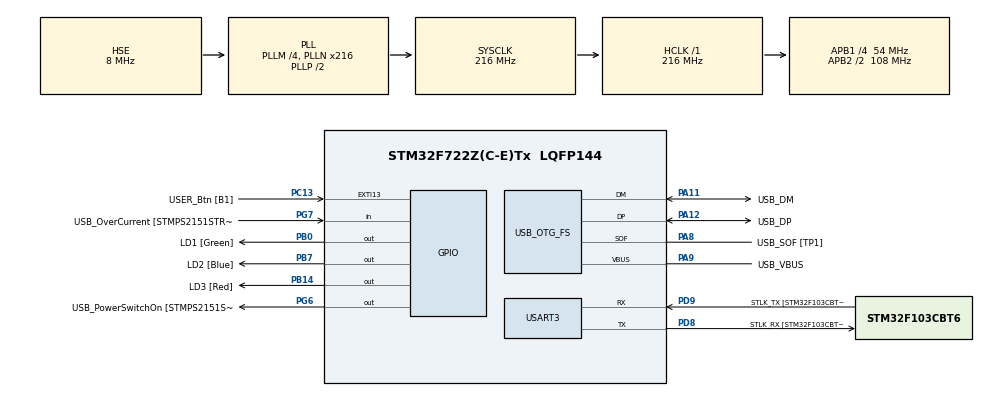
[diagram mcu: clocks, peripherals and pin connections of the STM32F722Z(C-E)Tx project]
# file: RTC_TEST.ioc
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Mcu.Family=STM32F7
Mcu.Name=STM32F722Z(C-E)Tx
Mcu.Package=LQFP144
NVIC.PriorityGroup=NVIC_PRIORITYGROUP_4
NVIC.RTC_WKUP_IRQn=true\:0\:0\:false\:false\:true\:true\:true\:true
PA10.GPIO_Label=USB_ID
PA10.Signal=USB_OTG_FS_ID
PA11.GPIO_Label=USB_DM
PA11.Mode=Device_Only
PA11.Signal=USB_OTG_FS_DM
PA12.GPIO_Label=USB_DP
PA12.Mode=Device_Only
PA12.Signal=USB_OTG_FS_DP
PA13.GPIO_Label=TMS
PA13.Mode=Serial_Wire
PA13.Signal=SYS_JTMS-SWDIO
PA14.GPIO_Label=TCK
PA14.Mode=Serial_Wire
PA14.Signal=SYS_JTCK-SWCLK
PA2.Mode=SYS_WakeUp1
PA2.Signal=SYS_WKUP2
PA8.GPIO_Label=USB_SOF [TP1]
PA8.Mode=Activate_SOF_FS
PA8.Signal=USB_OTG_FS_SOF
PA9.GPIO_Label=USB_VBUS
PA9.Mode=Activate_VBUS
PA9.Signal=USB_OTG_FS_VBUS
PB0.GPIO_Label=LD1 [Green]
PB0.Signal=GPIO_Output
PB14.GPIO_Label=LD3 [Red]
PB14.Signal=GPIO_Output
PB3.GPIO_Label=SWO
PB3.Signal=SYS_JTDO-SWO
PB7.GPIO_Label=LD2 [Blue]
PB7.Signal=GPIO_Output
PC13.GPIO_Label=USER_Btn [B1]
PC13.Signal=GPXTI13
PC14-OSC32_IN.Mode=LSE-External-Oscillator
PC14-OSC32_IN.Signal=RCC_OSC32_IN
PC15-OSC32_OUT.Mode=LSE-External-Oscillator
PC15-OSC32_OUT.Signal=RCC_OSC32_OUT
PD8.GPIO_Label=STLK_RX [STM32F103CBT6_PA3]
PD8.Mode=Asynchronous
PD8.Signal=USART3_TX
PD9.GPIO_Label=STLK_TX [STM32F103CBT6_PA2]
PD9.Mode=Asynchronous
PD9.Signal=USART3_RX
PG6.GPIO_Label=USB_PowerSwitchOn [STMPS2151STR_EN]
PG6.Signal=GPIO_Output
PG7.GPIO_Label=USB_OverCurrent [STMPS2151STR_FAULT]
PG7.Signal=GPIO_Input
PH0-OSC_IN.GPIO_Label=MCO
PH0-OSC_IN.Mode=HSE-External-Clock-Source
PH0-OSC_IN.Signal=RCC_OSC_IN
PH1-OSC_OUT.Mode=HSE-External-Clock-Source
PH1-OSC_OUT.Signal=RCC_OSC_OUT
ProjectManager.HeapSize=0x200
ProjectManager.StackSize=0x400
ProjectManager.TargetToolchain=STM32CubeIDE
RCC.48MHZClocksFreq_Value=24000000
RCC.AHBFreq_Value=216000000
RCC.APB1CLKDivider=RCC_HCLK_DIV4
RCC.APB1Freq_Value=54000000
RCC.APB1TimFreq_Value=108000000
RCC.APB2CLKDivider=RCC_HCLK_DIV2
RCC.APB2Freq_Value=108000000
RCC.APB2TimFreq_Value=216000000
RCC.CortexFreq_Value=216000000
RCC.HCLKFreq_Value=216000000
RCC.HSE_VALUE=8000000
RCC.HSI_VALUE=16000000
RCC.PLLM=4
RCC.PLLMUL=RCC_PLL_MUL9
RCC.PLLN=216
RCC.PLLQ=9
RCC.PRESCALERUSB=RCC_USBCLKSOURCE_PLL_DIV1_5
RCC.SYSCLKFreq_VALUE=216000000
RCC.SYSCLKSource=RCC_SYSCLKSOURCE_PLLCLK
RCC.SYSCLKSourceVirtual=RCC_SYSCLKSOURCE_PLLCLK
RCC.USBFreq_Value=48000000
RCC.VCOOutputFreq_Value=432000000
RTC.WakeUpClock-WakeUp=RTC_WAKEUPCLOCK_RTCCLK_DIV16
RTC.WakeUpCounter-WakeUp=0x500B
USART3.VirtualMode-Asynchronous=VM_ASYNC
USB_OTG_FS.VirtualMode=Device_Only
VP_RTC_VS_RTC_Activate.Mode=RTC_Enabled
VP_RTC_VS_RTC_WakeUp_intern.Mode=WakeUp
board=NUCLEO-F722ZE

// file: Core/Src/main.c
/* USER CODE BEGIN Header */
/**
  ******************************************************************************
  * @file           : main.c
  * @brief          : Main program body
  ******************************************************************************
  * @attention
  *
  * Copyright (c) 2023 STMicroelectronics.
  * All rights reserved.
  *
  * This software is licensed under terms that can be found in the LICENSE file
  * in the root directory of this software component.
  * If no LICENSE file comes with this software, it is provided AS-IS.
  *
  ******************************************************************************
  */
/* USER CODE END Header */
#include "main.h"

/* USER CODE BEGIN Includes */
#include <stdio.h>
/* USER CODE END Includes */

RTC_HandleTypeDef hrtc;

UART_HandleTypeDef huart3;

PCD_HandleTypeDef hpcd_USB_OTG_FS;

void SystemClock_Config(void);
static void MX_GPIO_Init(void);
static void MX_USART3_UART_Init(void);
static void MX_USB_OTG_FS_PCD_Init(void);
static void MX_RTC_Init(void);

/* USER CODE BEGIN 0 */
/*
void HAL_GPIO_EXTI_Callback( uint16_t GPIO_Pin )
{
	HAL_GPIO_WritePin( GPIOB, LD3_Pin, GPIO_PIN_RESET );
}
*/
/* USER CODE END 0 */

int main(void)
{

  /* MCU Configuration--------------------------------------------------------*/

  /* Reset of all peripherals, Initializes the Flash interface and the Systick. */
  HAL_Init();

  /* Configure the system clock */
  SystemClock_Config();

  /* Initialize all configured peripherals */
  MX_GPIO_Init();
  MX_USART3_UART_Init();
  MX_USB_OTG_FS_PCD_Init();
  MX_RTC_Init();
  /* USER CODE BEGIN 2 */
  char				uart_msg[50];
  int				uart_len;
  // check if the stand by flag is set

  if( __HAL_PWR_GET_FLAG( PWR_FLAG_SB ) != RESET ){

	  __HAL_PWR_CLEAR_FLAG( PWR_FLAG_SB );
	  uart_len = sprintf( uart_msg, "A: Wakeup from the STANDBY MODE.\r\n " );
	  HAL_UART_Transmit(&huart3, (uint8_t*)uart_msg, uart_len, 100);

	  for( uint8_t i = 0; i < 10; i++ ){
		  HAL_GPIO_TogglePin( GPIOB, LD1_Pin );
		  HAL_Delay( 200 );
	  }

	  HAL_PWR_DisableWakeUpPin( PWR_WAKEUP_PIN1 );
	  HAL_RTCEx_DeactivateWakeUpTimer( &hrtc );
  }

  // Clear the wakeup flag
  __HAL_PWR_CLEAR_FLAG( PWR_FLAG_WU );
  __HAL_RTC_WAKEUPTIMER_CLEAR_FLAG( &hrtc, RTC_FLAG_WUTF );

  uart_len = sprintf( uart_msg, "B: About to enter the STANDBY MODE.\r\n " );
  HAL_UART_Transmit(&huart3, (uint8_t*)uart_msg, uart_len, 100);

  for( uint8_t i = 0; i < 4; i++ ){
	  HAL_GPIO_TogglePin( GPIOB, LD2_Pin );
	  HAL_Delay( 500 );
  }

  HAL_PWR_EnableWakeUpPin( PWR_WAKEUP_PIN1 );
  // PWR->CR2 |= 0x01; same as following statement
  __HAL_PWR_CLEAR_WAKEUP_FLAG( PWR_WAKEUP_PIN_FLAG1 );

  if (HAL_RTCEx_SetWakeUpTimer_IT(&hrtc, 30-1, RTC_WAKEUPCLOCK_CK_SPRE_16BITS) != HAL_OK)
  {
    Error_Handler();
  }

  uart_len = sprintf( uart_msg, "C: STANDBY MODE Now.\r\n " );
  HAL_UART_Transmit(&huart3, (uint8_t*)uart_msg, uart_len, 100);

  HAL_PWR_EnterSTANDBYMode( );
  /* USER CODE END 2 */

  /* Infinite loop */
  while (1)
  {

    /* USER CODE BEGIN 3 */
/*	  GPIO_PinState _pin = HAL_GPIO_ReadPin( USER_Btn_GPIO_Port, USER_Btn_Pin );
	  if( _pin == GPIO_PIN_SET ){

	  }*/
	  /*
	  HAL_Delay( 500 );
	  HAL_GPIO_WritePin( GPIOB, LD3_Pin, GPIO_PIN_SET );
	  uart_len = sprintf( uart_msg, "Going sleep ... " );
	  HAL_UART_Transmit(&huart3, (uint8_t*)uart_msg, uart_len, 100);

      HAL_SuspendTick();
      HAL_RTCEx_SetWakeUpTimer_IT(&hrtc, 10-1, RTC_WAKEUPCLOCK_CK_SPRE_16BITS);

      HAL_PWR_EnterSLEEPMode( PWR_MAINREGULATOR_ON, PWR_SLEEPENTRY_WFI );
      HAL_RTCEx_DeactivateWakeUpTimer(&hrtc);
      SystemClock_Config();
      HAL_ResumeTick();
	  uart_len = sprintf( uart_msg, "Waking up !!! " );
	  HAL_UART_Transmit(&huart3, (uint8_t*)uart_msg, uart_len, 100);
*/

  }
  /* USER CODE END 3 */
}

void SystemClock_Config(void)
{
  RCC_OscInitTypeDef RCC_OscInitStruct = {0};
  RCC_ClkInitTypeDef RCC_ClkInitStruct = {0};

  /** Configure LSE Drive Capability
  */
  HAL_PWR_EnableBkUpAccess();

  /** Configure the main internal regulator output voltage
  */
  __HAL_RCC_PWR_CLK_ENABLE();
  __HAL_PWR_VOLTAGESCALING_CONFIG(PWR_REGULATOR_VOLTAGE_SCALE1);

  /** Initializes the RCC Oscillators according to the specified parameters
  * in the RCC_OscInitTypeDef structure.
  */
  RCC_OscInitStruct.OscillatorType = RCC_OSCILLATORTYPE_LSI|RCC_OSCILLATORTYPE_HSE;
  RCC_OscInitStruct.HSEState = RCC_HSE_BYPASS;
  RCC_OscInitStruct.LSIState = RCC_LSI_ON;
  RCC_OscInitStruct.PLL.PLLState = RCC_PLL_ON;
  RCC_OscInitStruct.PLL.PLLSource = RCC_PLLSOURCE_HSE;
  RCC_OscInitStruct.PLL.PLLM = 4;
  RCC_OscInitStruct.PLL.PLLN = 216;
  RCC_OscInitStruct.PLL.PLLP = RCC_PLLP_DIV2;
  RCC_OscInitStruct.PLL.PLLQ = 9;
  if (HAL_RCC_OscConfig(&RCC_OscInitStruct) != HAL_OK)
  {
    Error_Handler();
  }

  /** Activate the Over-Drive mode
  */
  if (HAL_PWREx_EnableOverDrive() != HAL_OK)
  {
    Error_Handler();
  }

  /** Initializes the CPU, AHB and APB buses clocks
  */
  RCC_ClkInitStruct.ClockType = RCC_CLOCKTYPE_HCLK|RCC_CLOCKTYPE_SYSCLK
                              |RCC_CLOCKTYPE_PCLK1|RCC_CLOCKTYPE_PCLK2;
  RCC_ClkInitStruct.SYSCLKSource = RCC_SYSCLKSOURCE_PLLCLK;
  RCC_ClkInitStruct.AHBCLKDivider = RCC_SYSCLK_DIV1;
  RCC_ClkInitStruct.APB1CLKDivider = RCC_HCLK_DIV4;
  RCC_ClkInitStruct.APB2CLKDivider = RCC_HCLK_DIV2;

  if (HAL_RCC_ClockConfig(&RCC_ClkInitStruct, FLASH_LATENCY_7) != HAL_OK)
  {
    Error_Handler();
  }
}

static void MX_RTC_Init(void)
{

  /** Initialize RTC Only
  */
  hrtc.Instance = RTC;
  hrtc.Init.HourFormat = RTC_HOURFORMAT_24;
  hrtc.Init.AsynchPrediv = 127;
  hrtc.Init.SynchPrediv = 255;
  hrtc.Init.OutPut = RTC_OUTPUT_DISABLE;
  hrtc.Init.OutPutPolarity = RTC_OUTPUT_POLARITY_HIGH;
  hrtc.Init.OutPutType = RTC_OUTPUT_TYPE_OPENDRAIN;
  if (HAL_RTC_Init(&hrtc) != HAL_OK)
  {
    Error_Handler();
  }

  /** Enable the WakeUp
  */
  if (HAL_RTCEx_SetWakeUpTimer_IT(&hrtc, 0x500B, RTC_WAKEUPCLOCK_RTCCLK_DIV16) != HAL_OK)
  {
    Error_Handler();
  }

}

static void MX_USART3_UART_Init(void)
{

  huart3.Instance = USART3;
  huart3.Init.BaudRate = 115200;
  huart3.Init.WordLength = UART_WORDLENGTH_8B;
  huart3.Init.StopBits = UART_STOPBITS_1;
  huart3.Init.Parity = UART_PARITY_NONE;
  huart3.Init.Mode = UART_MODE_TX_RX;
  huart3.Init.HwFlowCtl = UART_HWCONTROL_NONE;
  huart3.Init.OverSampling = UART_OVERSAMPLING_16;
  huart3.Init.OneBitSampling = UART_ONE_BIT_SAMPLE_DISABLE;
  huart3.AdvancedInit.AdvFeatureInit = UART_ADVFEATURE_NO_INIT;
  if (HAL_UART_Init(&huart3) != HAL_OK)
  {
    Error_Handler();
  }

}

static void MX_USB_OTG_FS_PCD_Init(void)
{

  hpcd_USB_OTG_FS.Instance = USB_OTG_FS;
  hpcd_USB_OTG_FS.Init.dev_endpoints = 6;
  hpcd_USB_OTG_FS.Init.speed = PCD_SPEED_FULL;
  hpcd_USB_OTG_FS.Init.dma_enable = DISABLE;
  hpcd_USB_OTG_FS.Init.phy_itface = PCD_PHY_EMBEDDED;
  hpcd_USB_OTG_FS.Init.Sof_enable = ENABLE;
  hpcd_USB_OTG_FS.Init.low_power_enable = DISABLE;
  hpcd_USB_OTG_FS.Init.lpm_enable = DISABLE;
  hpcd_USB_OTG_FS.Init.battery_charging_enable = ENABLE;
  hpcd_USB_OTG_FS.Init.vbus_sensing_enable = ENABLE;
  hpcd_USB_OTG_FS.Init.use_dedicated_ep1 = DISABLE;
  if (HAL_PCD_Init(&hpcd_USB_OTG_FS) != HAL_OK)
  {
    Error_Handler();
  }

}

static void MX_GPIO_Init(void)
{
  GPIO_InitTypeDef GPIO_InitStruct = {0};

  /* GPIO Ports Clock Enable */
  __HAL_RCC_GPIOC_CLK_ENABLE();
  __HAL_RCC_GPIOH_CLK_ENABLE();
  __HAL_RCC_GPIOA_CLK_ENABLE();
  __HAL_RCC_GPIOB_CLK_ENABLE();
  __HAL_RCC_GPIOD_CLK_ENABLE();
  __HAL_RCC_GPIOG_CLK_ENABLE();

  /*Configure GPIO pin Output Level */
  HAL_GPIO_WritePin(GPIOB, LD1_Pin|LD3_Pin|LD2_Pin, GPIO_PIN_RESET);

  /*Configure GPIO pin Output Level */
  HAL_GPIO_WritePin(USB_PowerSwitchOn_GPIO_Port, USB_PowerSwitchOn_Pin, GPIO_PIN_RESET);

  /*Configure GPIO pin : USER_Btn_Pin */
  GPIO_InitStruct.Pin = USER_Btn_Pin;
  GPIO_InitStruct.Mode = GPIO_MODE_IT_RISING;
  GPIO_InitStruct.Pull = GPIO_NOPULL;
  HAL_GPIO_Init(USER_Btn_GPIO_Port, &GPIO_InitStruct);

  /*Configure GPIO pins : LD1_Pin LD3_Pin LD2_Pin */
  GPIO_InitStruct.Pin = LD1_Pin|LD3_Pin|LD2_Pin;
  GPIO_InitStruct.Mode = GPIO_MODE_OUTPUT_PP;
  GPIO_InitStruct.Pull = GPIO_NOPULL;
  GPIO_InitStruct.Speed = GPIO_SPEED_FREQ_LOW;
  HAL_GPIO_Init(GPIOB, &GPIO_InitStruct);

  /*Configure GPIO pin : USB_PowerSwitchOn_Pin */
  GPIO_InitStruct.Pin = USB_PowerSwitchOn_Pin;
  GPIO_InitStruct.Mode = GPIO_MODE_OUTPUT_PP;
  GPIO_InitStruct.Pull = GPIO_NOPULL;
  GPIO_InitStruct.Speed = GPIO_SPEED_FREQ_LOW;
  HAL_GPIO_Init(USB_PowerSwitchOn_GPIO_Port, &GPIO_InitStruct);

  /*Configure GPIO pin : USB_OverCurrent_Pin */
  GPIO_InitStruct.Pin = USB_OverCurrent_Pin;
  GPIO_InitStruct.Mode = GPIO_MODE_INPUT;
  GPIO_InitStruct.Pull = GPIO_NOPULL;
  HAL_GPIO_Init(USB_OverCurrent_GPIO_Port, &GPIO_InitStruct);

}

void Error_Handler(void)
{
  __disable_irq();
  while (1)
  {
  }
}
